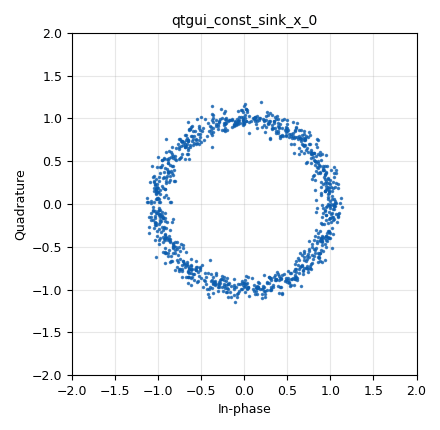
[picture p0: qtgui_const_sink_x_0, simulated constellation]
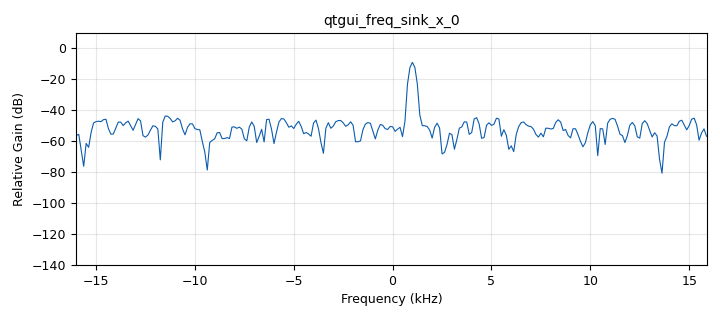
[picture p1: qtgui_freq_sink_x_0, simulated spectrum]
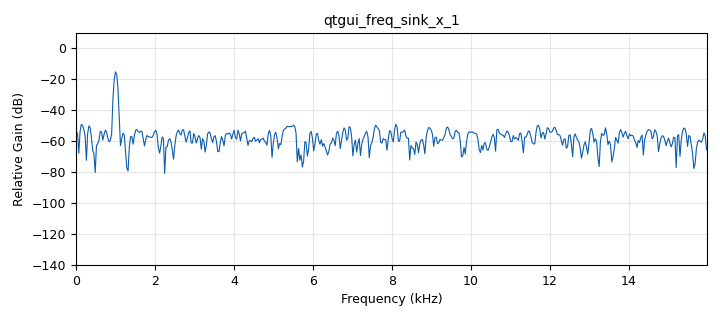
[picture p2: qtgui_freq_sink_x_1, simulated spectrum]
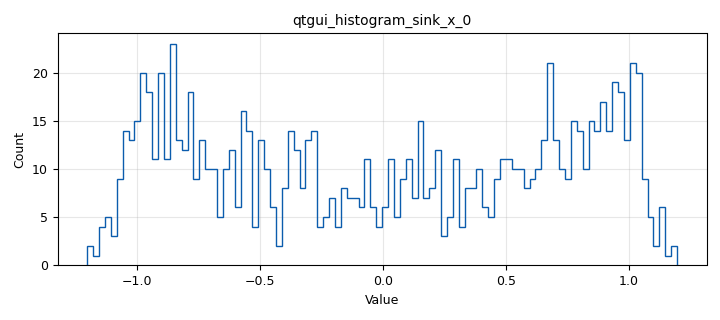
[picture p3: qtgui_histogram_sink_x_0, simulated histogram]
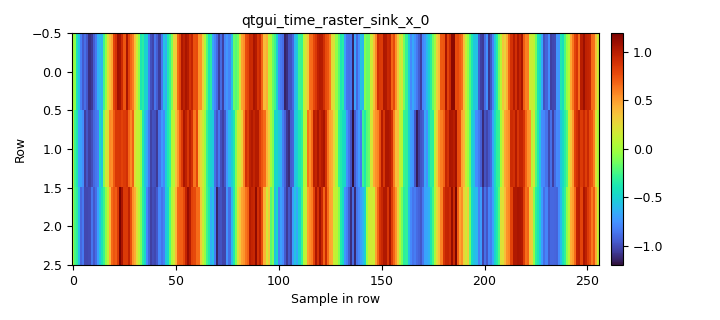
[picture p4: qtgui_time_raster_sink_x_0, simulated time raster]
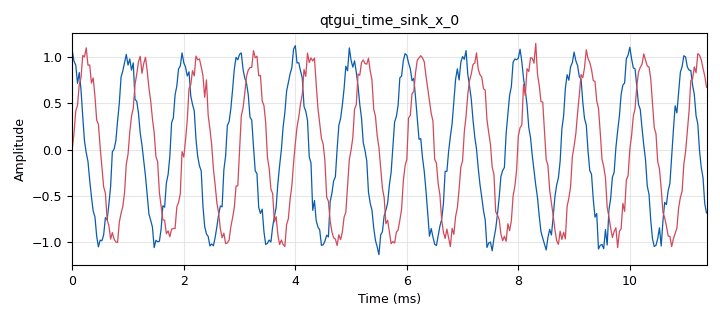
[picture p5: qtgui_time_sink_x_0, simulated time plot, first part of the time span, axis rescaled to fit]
options:
  parameters:
    category: Custom
    generate_options: qt_gui
    id: qtgui_message_inputs
    output_language: python
  states: {}

blocks:
- name: fftsize
  id: variable
  parameters:
    value: '256'
  states: {}
- name: pkt_len
  id: variable
  parameters:
    value: '1000'
  states: {}
- name: samp_rate
  id: variable
  parameters:
    value: '32000'
  states: {}
- name: analog_noise_source_x_0
  id: analog_noise_source_x
  parameters:
    amp: '0.1'
    noise_type: analog.GR_GAUSSIAN
    seed: '0'
    type: complex
  states: {}
- name: analog_noise_source_x_1
  id: analog_noise_source_x
  parameters:
    amp: '0.1'
    noise_type: analog.GR_GAUSSIAN
    seed: '0'
    type: float
  states: {}
- name: analog_sig_source_x_0
  id: analog_sig_source_x
  parameters:
    amp: '1'
    freq: '1000'
    offset: '0'
    phase: '0'
    samp_rate: samp_rate
    type: complex
    waveform: analog.GR_COS_WAVE
  states: {}
- name: analog_sig_source_x_1
  id: analog_sig_source_x
  parameters:
    amp: '1'
    freq: '1000'
    offset: '0'
    phase: '0'
    samp_rate: samp_rate
    type: float
    waveform: analog.GR_COS_WAVE
  states: {}
- name: blocks_add_xx_0
  id: blocks_add_xx
  parameters:
    type: complex
  states: {}
- name: blocks_add_xx_1
  id: blocks_add_xx
  parameters:
    type: float
  states: {}
- name: blocks_stream_to_tagged_stream_0
  id: blocks_stream_to_tagged_stream
  parameters:
    len_tag_key: '"packet_len"'
    packet_len: pkt_len
    type: complex
  states: {}
- name: blocks_stream_to_tagged_stream_1
  id: blocks_stream_to_tagged_stream
  parameters:
    len_tag_key: '"packet_len"'
    packet_len: pkt_len
    type: float
  states: {}
- name: blocks_tagged_stream_to_pdu_0
  id: blocks_tagged_stream_to_pdu
  parameters:
    tag: packet_len
    type: complex
  states: {}
- name: blocks_tagged_stream_to_pdu_1
  id: blocks_tagged_stream_to_pdu
  parameters:
    tag: packet_len
    type: float
  states: {}
- name: blocks_throttle_0
  id: blocks_throttle
  parameters:
    samples_per_second: samp_rate
    type: complex
  states: {}
- name: blocks_throttle_1
  id: blocks_throttle
  parameters:
    samples_per_second: samp_rate
    type: float
  states: {}
- name: qtgui_const_sink_x_0
  id: qtgui_const_sink_x
  parameters:
    gui_hint: tab@0:1,1,1,1
    legend: 'False'
    nconnections: '2'
    type: msg_complex
  states: {}
- name: qtgui_freq_sink_x_0
  id: qtgui_freq_sink_x
  parameters:
    bw: samp_rate
    fc: '0'
    fftsize: fftsize
    gui_hint: tab@0:1,0,1,1
    label2: ''
    legend: 'False'
    nconnections: '2'
    showports: 'True'
    type: msg_complex
    update_time: '0.50'
    wintype: fft.window.WIN_BLACKMAN_hARRIS
  states: {}
- name: qtgui_freq_sink_x_1
  id: qtgui_freq_sink_x
  parameters:
    bw: samp_rate
    fc: '0'
    fftsize: fftsize*4
    freqhalf: 'False'
    gui_hint: tab@1:1,0,1,1
    label2: ''
    legend: 'False'
    nconnections: '2'
    showports: 'True'
    type: msg_float
    update_time: '0.50'
    wintype: fft.window.WIN_BLACKMAN_hARRIS
  states: {}
- name: qtgui_histogram_sink_x_0
  id: qtgui_histogram_sink_x
  parameters:
    bins: '100'
    color1: '"dark red"'
    grid: 'True'
    gui_hint: tab@2:1,0,1,1
    legend: 'False'
    nconnections: '2'
    type: msg_float
    update_time: '0.50'
    xmax: '1'
    xmin: '-1'
  states: {}
- name: qtgui_time_raster_sink_x_0
  id: qtgui_time_raster_sink_x
  parameters:
    gui_hint: tab@2:0,0,1,1
    ncols: '256'
    nconnections: '2'
    nrows: '50'
    samp_rate: samp_rate
    type: msg_float
    update_time: '0.50'
  states: {}
- name: qtgui_time_sink_x_0
  id: qtgui_time_sink_x
  parameters:
    color1: '"magenta"'
    color2: '"red"'
    gui_hint: tab@0:0,1,1,1
    label1: ''
    label2: ''
    legend: 'False'
    nconnections: '2'
    srate: samp_rate
    type: msg_complex
  states: {}
- name: qtgui_time_sink_x_0_0
  id: qtgui_time_sink_x
  parameters:
    color1: '"blue"'
    gui_hint: tab@1:0,1,1,1
    label1: ''
    legend: 'False'
    nconnections: '0'
    srate: samp_rate
    type: msg_float
  states: {}
- name: qtgui_waterfall_sink_x_0
  id: qtgui_waterfall_sink_x
  parameters:
    bw: samp_rate
    fc: '0'
    fftsize: fftsize
    gui_hint: tab@0:0,0,1,1
    nconnections: '3'
    showports: 'True'
    type: msg_complex
    update_time: '0.50'
    wintype: fft.window.WIN_BLACKMAN_hARRIS
  states: {}
- name: qtgui_waterfall_sink_x_1
  id: qtgui_waterfall_sink_x
  parameters:
    bw: samp_rate
    fc: '0'
    fftsize: fftsize
    freqhalf: 'False'
    gui_hint: tab@1:0,0,1,1
    nconnections: '2'
    showports: 'True'
    type: msg_float
    update_time: '0.50'
    wintype: fft.window.WIN_BLACKMAN_hARRIS
  states: {}
- name: tab
  id: qtgui_tab_widget
  parameters:
    label0: Complex
    label1: Float
    label2: Other
    num_tabs: '3'
  states: {}

connections:
- [analog_noise_source_x_0, '0', blocks_add_xx_0, '0']
- [analog_noise_source_x_1, '0', blocks_add_xx_1, '0']
- [analog_sig_source_x_0, '0', blocks_add_xx_0, '1']
- [analog_sig_source_x_1, '0', blocks_add_xx_1, '1']
- [blocks_add_xx_0, '0', blocks_throttle_0, '0']
- [blocks_add_xx_1, '0', blocks_throttle_1, '0']
- [blocks_stream_to_tagged_stream_0, '0', blocks_tagged_stream_to_pdu_0, '0']
- [blocks_stream_to_tagged_stream_1, '0', blocks_tagged_stream_to_pdu_1, '0']
- [blocks_tagged_stream_to_pdu_0, pdus, qtgui_const_sink_x_0, in]
- [blocks_tagged_stream_to_pdu_0, pdus, qtgui_freq_sink_x_0, in]
- [blocks_tagged_stream_to_pdu_0, pdus, qtgui_time_sink_x_0, in]
- [blocks_tagged_stream_to_pdu_0, pdus, qtgui_waterfall_sink_x_0, in]
- [blocks_tagged_stream_to_pdu_1, pdus, qtgui_freq_sink_x_1, in]
- [blocks_tagged_stream_to_pdu_1, pdus, qtgui_histogram_sink_x_0, in]
- [blocks_tagged_stream_to_pdu_1, pdus, qtgui_time_raster_sink_x_0, in]
- [blocks_tagged_stream_to_pdu_1, pdus, qtgui_time_sink_x_0_0, in]
- [blocks_tagged_stream_to_pdu_1, pdus, qtgui_waterfall_sink_x_1, in]
- [blocks_throttle_0, '0', blocks_stream_to_tagged_stream_0, '0']
- [blocks_throttle_1, '0', blocks_stream_to_tagged_stream_1, '0']

metadata:
  file_format: 1
